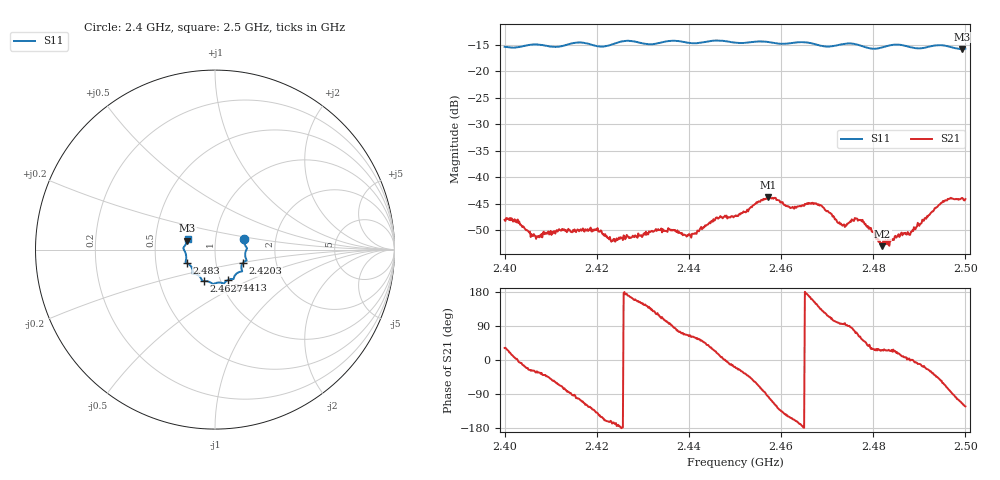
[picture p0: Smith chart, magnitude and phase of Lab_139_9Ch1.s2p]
# Hz S RI R 50
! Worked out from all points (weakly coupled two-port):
!   601 points, 2.4 GHz to 2.5 GHz, reference 50 ohm
!   highest |S21| = -43.80 dB at 2.4572 GHz (marker M1); lowest = -53.0 dB at 2.482 GHz (marker M2)
!   lowest |S11| = -15.8 dB at 2.4993 GHz (marker M3), VSWR 1.39, Z = 36.5 + j3.73 ohm
!   |S11| at or under -10 dB: start of sweep to end of sweep
!   S12 and S22 are empty: the file has one direction only
!   S11 on the Smith chart (normalised r, x): 2.4 GHz: 1.37, +0.16; 2.4203 GHz: 1.35, -0.21; 2.4413 GHz: 1.09, -0.38; 2.4627 GHz: 0.83, -0.30; 2.483 GHz: 0.72, -0.11; 2.5 GHz: 0.73, +0.09
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2.4e9  0.1604 0.057  0.00337 0.00209  0 0  0 0
2.402667e9  0.1656 0.0286  0.00375 0.000198  0 0  0 0
2.407e9  0.1788 0.00764  0.00241 -0.00139  0 0  0 0
2.416667e9  0.176 -0.0617  -0.000927 -0.003  0 0  0 0
2.420333e9  0.1551 -0.0739  -0.00247 -0.00184  0 0  0 0
2.423667e9  0.1475 -0.1055  -0.00253 -0.000688  0 0  0 0
2.433333e9  0.108 -0.1485  -0.00157 0.00284  0 0  0 0
2.441333e9  0.0742 -0.1678  0.00153 0.00255  0 0  0 0
2.446333e9  0.049 -0.1889  0.00391 0.00113  0 0  0 0
2.45e9  0.0293 -0.1838  0.0041 -0.00133  0 0  0 0
2.457167e9  -0.0176 -0.1879  -0.000702 -0.00642  0 0  0 0
2.462667e9  -0.062 -0.1748  -0.00474 -0.00204  0 0  0 0
2.466667e9  -0.0743 -0.1675  -0.00541 0.00188  0 0  0 0
2.473333e9  -0.1199 -0.1344  -0.000288 0.00349  0 0  0 0
2.4775e9  -0.1242 -0.1207  0.00221 0.00315  0 0  0 0
2.482e9  -0.1473 -0.081  0.00201 0.001  0 0  0 0
2.483e9  -0.155 -0.0766  0.00214 0.001  0 0  0 0
2.483333e9  -0.1572 -0.0756  0.00205 0.00104  0 0  0 0
2.488167e9  -0.1607 -0.0503  0.00305 -2.4e-05  0 0  0 0
2.495167e9  -0.1751 0.0116  0.00293 -0.00522  0 0  0 0
2.499333e9  -0.1543 0.0497  -0.00264 -0.00582  0 0  0 0
2.5e9  -0.1527 0.0587  -0.00335 -0.00526  0 0  0 0
